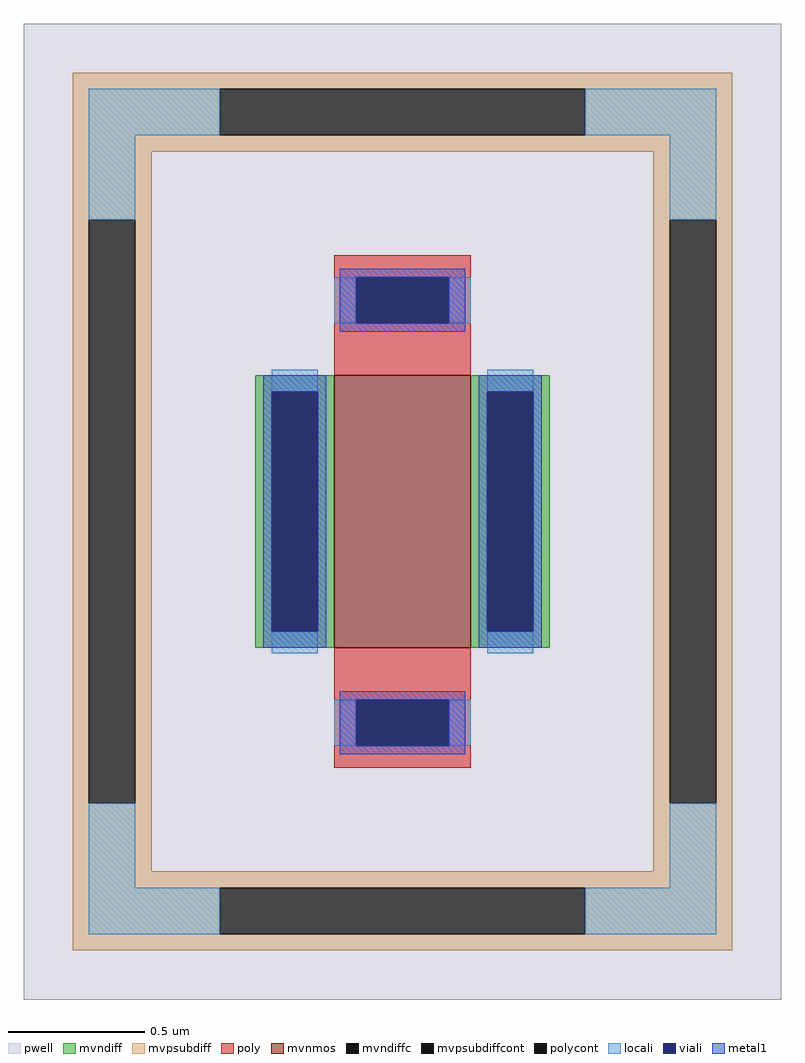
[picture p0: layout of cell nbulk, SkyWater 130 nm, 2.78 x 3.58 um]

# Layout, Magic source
magic
tech sky130A
magscale 1 2
<< pwell >>
rect -278 -358 278 358
<< mvnmos >>
rect -50 -100 50 100
<< mvndiff >>
rect -108 88 -50 100
rect -108 -88 -96 88
rect -62 -88 -50 88
rect -108 -100 -50 -88
rect 50 88 108 100
rect 50 -88 62 88
rect 96 -88 108 88
rect 50 -100 108 -88
<< mvndiffc >>
rect -96 -88 -62 88
rect 62 -88 96 88
<< mvpsubdiff >>
rect -242 310 242 322
rect -242 276 -134 310
rect 134 276 242 310
rect -242 264 242 276
rect -242 214 -184 264
rect -242 -214 -230 214
rect -196 -214 -184 214
rect 184 214 242 264
rect -242 -264 -184 -214
rect 184 -214 196 214
rect 230 -214 242 214
rect 184 -264 242 -214
rect -242 -276 242 -264
rect -242 -310 -134 -276
rect 134 -310 242 -276
rect -242 -322 242 -310
<< mvpsubdiffcont >>
rect -134 276 134 310
rect -230 -214 -196 214
rect 196 -214 230 214
rect -134 -310 134 -276
<< poly >>
rect -50 172 50 188
rect -50 138 -34 172
rect 34 138 50 172
rect -50 100 50 138
rect -50 -138 50 -100
rect -50 -172 -34 -138
rect 34 -172 50 -138
rect -50 -188 50 -172
<< polycont >>
rect -34 138 34 172
rect -34 -172 34 -138
<< locali >>
rect -230 276 -134 310
rect 134 276 230 310
rect -230 214 -196 276
rect 196 214 230 276
rect -50 138 -34 172
rect 34 138 50 172
rect -96 88 -62 104
rect -96 -104 -62 -88
rect 62 88 96 104
rect 62 -104 96 -88
rect -50 -172 -34 -138
rect 34 -172 50 -138
rect -230 -276 -196 -214
rect 196 -276 230 -214
rect -230 -310 -134 -276
rect 134 -310 230 -276
<< viali >>
rect -34 138 34 172
rect -96 -88 -62 88
rect 62 -88 96 88
rect -34 -172 34 -138
<< metal1 >>
rect -46 172 46 178
rect -46 138 -34 172
rect 34 138 46 172
rect -46 132 46 138
rect -102 88 -56 100
rect -102 -88 -96 88
rect -62 -88 -56 88
rect -102 -100 -56 -88
rect 56 88 102 100
rect 56 -88 62 88
rect 96 -88 102 88
rect 56 -100 102 -88
rect -46 -138 46 -132
rect -46 -172 -34 -138
rect 34 -172 46 -138
rect -46 -178 46 -172
<< properties >>
string FIXED_BBOX -213 -293 213 293
<< end >>
